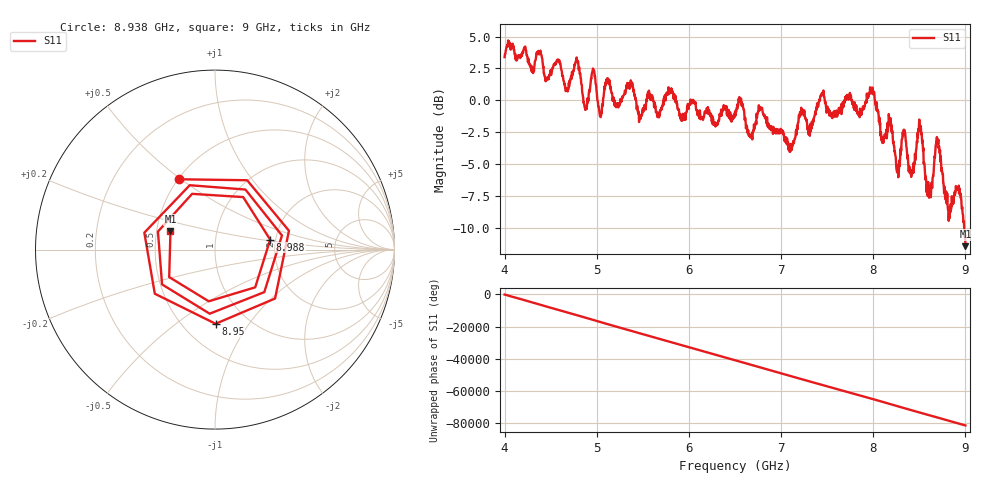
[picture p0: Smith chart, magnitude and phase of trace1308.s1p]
! Created with skrf 1.8.0 (http://scikit-rf.org).
# Hz S RI R 50.0
!freq ReS11 ImS11
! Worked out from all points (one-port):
!   1601 points, 4 GHz to 9 GHz, reference 50 ohm
!   lowest |S11| = -11.4 dB at 9 GHz (marker M1), VSWR 1.73, Z = 29.6 + j6.48 ohm
!   |S11| at or under -10 dB: 8.987216 GHz to end of sweep
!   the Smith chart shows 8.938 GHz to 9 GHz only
!   S11 on the Smith chart (normalised r, x): 8.938 GHz: 0.51, +0.49; 8.95 GHz: 0.71, -0.71; 8.988 GHz: 1.87, +0.23; 9 GHz: 0.59, +0.13
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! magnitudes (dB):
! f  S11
! 4 GHz  3.4
! 4.625 GHz  1.9
! 4.788 GHz  3.0
! 4.878 GHz  -0.6
! 4.959 GHz  2.5
! 5.031 GHz  -1.0
! 5.116 GHz  1.4
! 5.25 GHz  -0.3
! 5.875 GHz  -0.6
! 6.5 GHz  -0.9
! 7.125 GHz  -3.6
! 7.441 GHz  0.5
! 7.75 GHz  0.3
! 7.988 GHz  0.8
! 8.103 GHz  -3.1
! 8.188 GHz  -1.4
! 8.262 GHz  -5.5
! 8.331 GHz  -2.3
! 8.375 GHz  -4.3
! 8.425 GHz  -5.7
! 8.506 GHz  -1.9
! 8.603 GHz  -7.1
! 8.7 GHz  -3.3
! 8.819 GHz  -9.4
! 8.938 GHz  -7.1
! 8.95 GHz  -7.7
! 8.988 GHz  -10.1
! 9 GHz  -11.4
